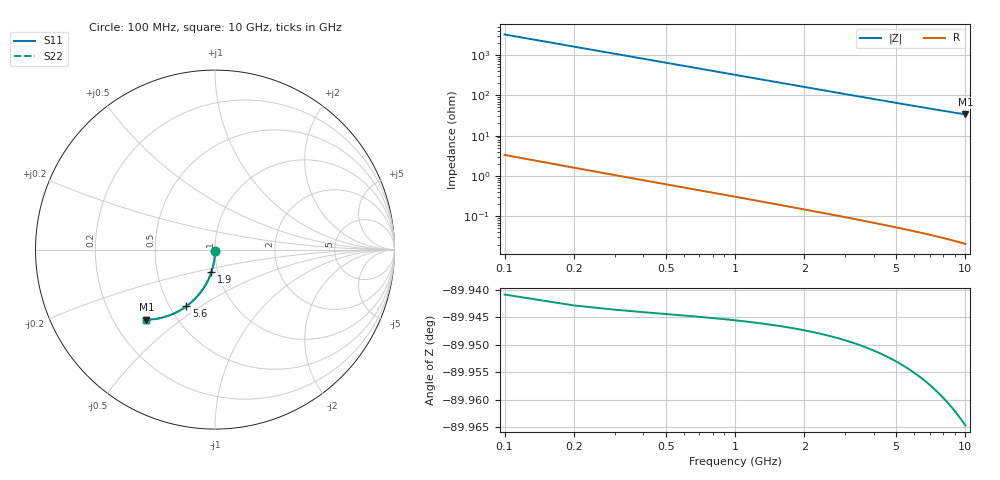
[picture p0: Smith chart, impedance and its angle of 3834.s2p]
# Hz S RI R 50.00
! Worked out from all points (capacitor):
!   100 points, 100 MHz to 10 GHz, reference 50 ohm
!   read as one part in shunt: C = 495 fF near 100 MHz
!   lowest |Z| = 33.6 ohm at 10 GHz (marker M1)
!   S11 on the Smith chart (normalised r, x): 100 MHz: 1.00, -0.01; 1.9 GHz: 0.93, -0.24; 5.6 GHz: 0.61, -0.44; 10 GHz: 0.34, -0.38
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1e8  0.000422 -0.00683  0.9994 -0.00872  0.9994 -0.00872  0.000422 -0.00683
2e8  0.000239 -0.0137  0.9992 -0.0174  0.9992 -0.0174  0.000239 -0.0137
3e8  -6.38e-05 -0.0205  0.9989 -0.0262  0.9989 -0.0262  -6.38e-05 -0.0205
4e8  -0.000486 -0.0273  0.9985 -0.0349  0.9985 -0.0349  -0.000486 -0.0273
5e8  -0.00103 -0.0341  0.9979 -0.0436  0.9979 -0.0436  -0.00103 -0.0341
6e8  -0.00169 -0.0409  0.9972 -0.0522  0.9972 -0.0522  -0.00169 -0.0409
7e8  -0.00246 -0.0476  0.9964 -0.0609  0.9964 -0.0609  -0.00246 -0.0476
8e8  -0.00336 -0.0544  0.9955 -0.0695  0.9955 -0.0695  -0.00336 -0.0544
9e8  -0.00437 -0.0611  0.9945 -0.0782  0.9945 -0.0782  -0.00437 -0.0611
1.1e9  -0.00674 -0.0745  0.992 -0.0954  0.992 -0.0954  -0.00674 -0.0745
1.4e9  -0.0111 -0.0944  0.9875 -0.1209  0.9875 -0.1209  -0.0111 -0.0944
1.8e9  -0.0186 -0.1204  0.9798 -0.1545  0.9798 -0.1545  -0.0186 -0.1204
1.9e9  -0.0207 -0.1267  0.9776 -0.1627  0.9776 -0.1627  -0.0207 -0.1267
2.2e9  -0.0277 -0.1456  0.9704 -0.1873  0.9704 -0.1873  -0.0277 -0.1456
2.6e9  -0.0385 -0.17  0.9592 -0.2193  0.9592 -0.2193  -0.0385 -0.17
3.4e9  -0.0645 -0.2156  0.9324 -0.2802  0.9324 -0.2802  -0.0645 -0.2156
4.2e9  -0.0956 -0.2565  0.9001 -0.3363  0.9001 -0.3363  -0.0956 -0.2565
5.1e9  -0.1354 -0.2961  0.8588 -0.3932  0.8588 -0.3932  -0.1354 -0.2961
5.6e9  -0.1591 -0.315  0.834 -0.4218  0.834 -0.4218  -0.1591 -0.315
6.7e9  -0.2141 -0.3488  0.7765 -0.477  0.7765 -0.477  -0.2141 -0.3488
8.4e9  -0.3018 -0.3807  0.6839 -0.5422  0.6839 -0.5422  -0.3018 -0.3807
1e10  -0.3819 -0.3909  0.598 -0.5843  0.598 -0.5843  -0.3819 -0.3909
